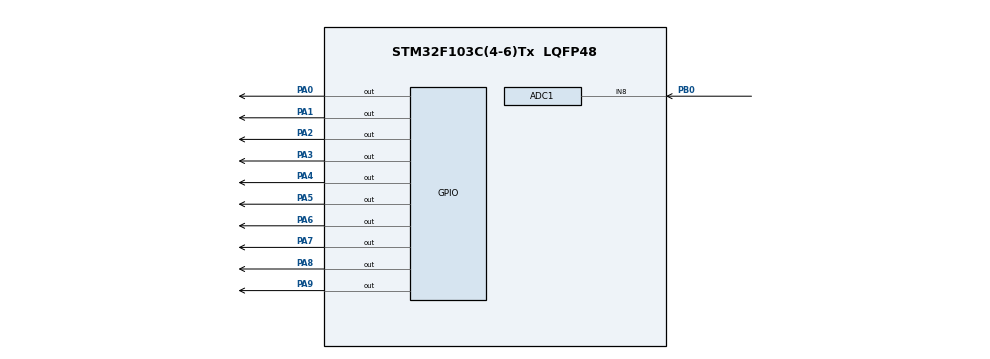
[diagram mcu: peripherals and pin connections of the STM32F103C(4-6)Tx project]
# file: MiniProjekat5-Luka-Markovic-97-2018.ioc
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ADC1.Channel-0\#ChannelRegularConversion=ADC_CHANNEL_8
ADC1.ContinuousConvMode=DISABLE
ADC1.NbrOfConversionFlag=1
ADC1.master=1
Mcu.Family=STM32F1
Mcu.Name=STM32F103C(4-6)Tx
Mcu.Package=LQFP48
NVIC.PriorityGroup=NVIC_PRIORITYGROUP_4
PA0-WKUP.Signal=GPIO_Output
PA1.Signal=GPIO_Output
PA2.Signal=GPIO_Output
PA3.Signal=GPIO_Output
PA4.Signal=GPIO_Output
PA5.Signal=GPIO_Output
PA6.Signal=GPIO_Output
PA7.Signal=GPIO_Output
PA8.Signal=GPIO_Output
PA9.Signal=GPIO_Output
PB0.Signal=ADCx_IN8
ProjectManager.HeapSize=0x200
ProjectManager.StackSize=0x400
ProjectManager.TargetToolchain=STM32CubeIDE
RCC.APB1Freq_Value=8000000
RCC.APB2Freq_Value=8000000
SH.ADCx_IN8.0=ADC1_IN8,IN8
board=custom

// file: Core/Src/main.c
/* USER CODE BEGIN Header */
/**
  ******************************************************************************
  * @file           : main.c
  * @brief          : Main program body
  ******************************************************************************
  * @attention
  *
  * Copyright (c) 2023 STMicroelectronics.
  * All rights reserved.
  *
  * This software is licensed under terms that can be found in the LICENSE file
  * in the root directory of this software component.
  * If no LICENSE file comes with this software, it is provided AS-IS.
  *
  ******************************************************************************
  */
/* USER CODE END Header */
#include "main.h"

/* USER CODE BEGIN Includes */
#include "LCD_DRIVER.h"
/* USER CODE END Includes */

ADC_HandleTypeDef hadc1;

void SystemClock_Config(void);
static void MX_GPIO_Init(void);
static void MX_ADC1_Init(void);

int main(void)
{
  /* USER CODE BEGIN 1 */
	int adcRead;
	float result;
	int adcBuffer = 0;
	int writeAgainFlag = 1;
  /* USER CODE END 1 */

  /* MCU Configuration--------------------------------------------------------*/

  /* Reset of all peripherals, Initializes the Flash interface and the Systick. */
  HAL_Init();

  /* Configure the system clock */
  SystemClock_Config();

  /* Initialize all configured peripherals */
  MX_GPIO_Init();
  MX_ADC1_Init();
  /* USER CODE BEGIN 2 */
  lcdInit();
  /* USER CODE END 2 */

  /* Infinite loop */
  while (1)
  {

    /* USER CODE BEGIN 3 */
	 HAL_Delay(100);
	 HAL_ADC_Start(&hadc1);
	 HAL_ADC_PollForConversion(&hadc1, HAL_MAX_DELAY);

	 adcRead = HAL_ADC_GetValue(&hadc1);

	 result = (adcRead * 10)/4095; //daje vrednosti u range-u od 0 do 10

	  if(adcRead <= 2047 && writeAgainFlag)
	  {
		  lcdClear();
		  lcdWriteString("Indeks: 97");
		  adcBuffer = result;
		  writeAgainFlag = 0;

	  }

	  if(adcRead > 2047 && writeAgainFlag)
	  {
		  lcdClear();
		  lcdWriteString("Indeks: 97/2018");
		  adcBuffer = result;
		  writeAgainFlag = 0;
	  }

	  if(result != adcBuffer)
	  {
		  writeAgainFlag = 1;
	  }

	  HAL_Delay(200);

  }
  /* USER CODE END 3 */
}

void SystemClock_Config(void)
{
  RCC_OscInitTypeDef RCC_OscInitStruct = {0};
  RCC_ClkInitTypeDef RCC_ClkInitStruct = {0};
  RCC_PeriphCLKInitTypeDef PeriphClkInit = {0};

  /** Initializes the RCC Oscillators according to the specified parameters
  * in the RCC_OscInitTypeDef structure.
  */
  RCC_OscInitStruct.OscillatorType = RCC_OSCILLATORTYPE_HSI;
  RCC_OscInitStruct.HSIState = RCC_HSI_ON;
  RCC_OscInitStruct.HSICalibrationValue = RCC_HSICALIBRATION_DEFAULT;
  RCC_OscInitStruct.PLL.PLLState = RCC_PLL_NONE;
  if (HAL_RCC_OscConfig(&RCC_OscInitStruct) != HAL_OK)
  {
    Error_Handler();
  }

  /** Initializes the CPU, AHB and APB buses clocks
  */
  RCC_ClkInitStruct.ClockType = RCC_CLOCKTYPE_HCLK|RCC_CLOCKTYPE_SYSCLK
                              |RCC_CLOCKTYPE_PCLK1|RCC_CLOCKTYPE_PCLK2;
  RCC_ClkInitStruct.SYSCLKSource = RCC_SYSCLKSOURCE_HSI;
  RCC_ClkInitStruct.AHBCLKDivider = RCC_SYSCLK_DIV1;
  RCC_ClkInitStruct.APB1CLKDivider = RCC_HCLK_DIV1;
  RCC_ClkInitStruct.APB2CLKDivider = RCC_HCLK_DIV1;

  if (HAL_RCC_ClockConfig(&RCC_ClkInitStruct, FLASH_LATENCY_0) != HAL_OK)
  {
    Error_Handler();
  }
  PeriphClkInit.PeriphClockSelection = RCC_PERIPHCLK_ADC;
  PeriphClkInit.AdcClockSelection = RCC_ADCPCLK2_DIV2;
  if (HAL_RCCEx_PeriphCLKConfig(&PeriphClkInit) != HAL_OK)
  {
    Error_Handler();
  }
}

static void MX_ADC1_Init(void)
{

  ADC_ChannelConfTypeDef sConfig = {0};

  /** Common config
  */
  hadc1.Instance = ADC1;
  hadc1.Init.ScanConvMode = ADC_SCAN_DISABLE;
  hadc1.Init.ContinuousConvMode = DISABLE;
  hadc1.Init.DiscontinuousConvMode = DISABLE;
  hadc1.Init.ExternalTrigConv = ADC_SOFTWARE_START;
  hadc1.Init.DataAlign = ADC_DATAALIGN_RIGHT;
  hadc1.Init.NbrOfConversion = 1;
  if (HAL_ADC_Init(&hadc1) != HAL_OK)
  {
    Error_Handler();
  }

  /** Configure Regular Channel
  */
  sConfig.Channel = ADC_CHANNEL_8;
  sConfig.Rank = ADC_REGULAR_RANK_1;
  sConfig.SamplingTime = ADC_SAMPLETIME_1CYCLE_5;
  if (HAL_ADC_ConfigChannel(&hadc1, &sConfig) != HAL_OK)
  {
    Error_Handler();
  }

}

static void MX_GPIO_Init(void)
{
  GPIO_InitTypeDef GPIO_InitStruct = {0};

  /* GPIO Ports Clock Enable */
  __HAL_RCC_GPIOA_CLK_ENABLE();
  __HAL_RCC_GPIOB_CLK_ENABLE();

  /*Configure GPIO pin Output Level */
  HAL_GPIO_WritePin(GPIOA, GPIO_PIN_0|GPIO_PIN_1|GPIO_PIN_2|GPIO_PIN_3
                          |GPIO_PIN_4|GPIO_PIN_5|GPIO_PIN_6|GPIO_PIN_7
                          |GPIO_PIN_8|GPIO_PIN_9, GPIO_PIN_RESET);

  /*Configure GPIO pins : PA0 PA1 PA2 PA3
                           PA4 PA5 PA6 PA7
                           PA8 PA9 */
  GPIO_InitStruct.Pin = GPIO_PIN_0|GPIO_PIN_1|GPIO_PIN_2|GPIO_PIN_3
                          |GPIO_PIN_4|GPIO_PIN_5|GPIO_PIN_6|GPIO_PIN_7
                          |GPIO_PIN_8|GPIO_PIN_9;
  GPIO_InitStruct.Mode = GPIO_MODE_OUTPUT_PP;
  GPIO_InitStruct.Pull = GPIO_NOPULL;
  GPIO_InitStruct.Speed = GPIO_SPEED_FREQ_LOW;
  HAL_GPIO_Init(GPIOA, &GPIO_InitStruct);

}

void Error_Handler(void)
{
  __disable_irq();
  while (1)
  {
  }
}
